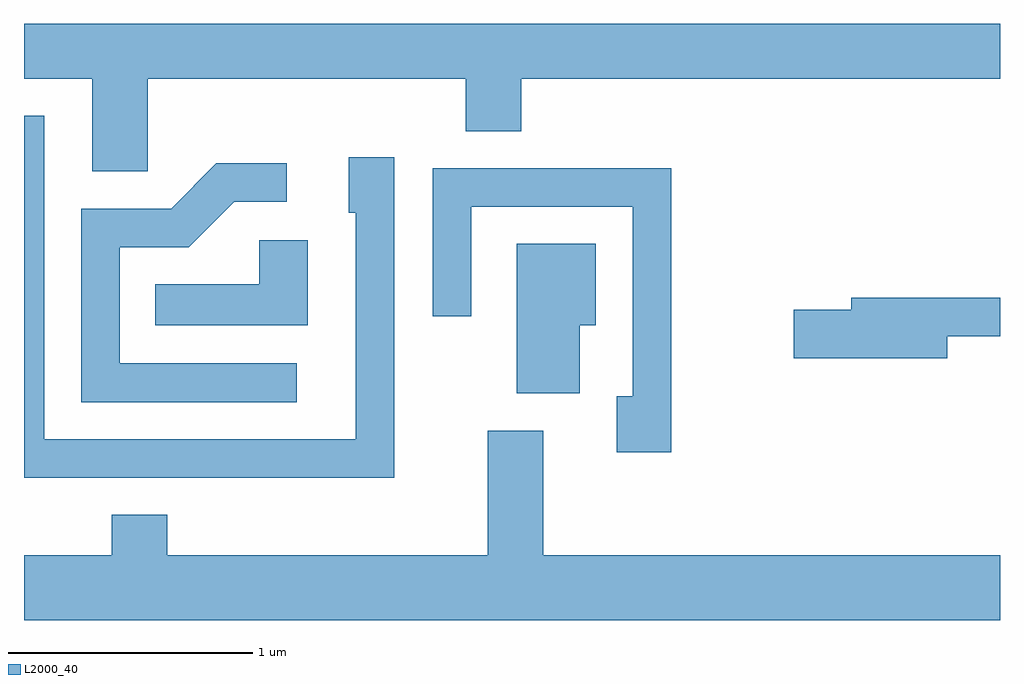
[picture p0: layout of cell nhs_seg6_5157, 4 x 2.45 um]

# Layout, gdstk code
import gdstk
lib = gdstk.Library(unit=1e-6, precision=1e-09)
def P(c, l, *ps):  # polygons
    for p in ps: c.add(gdstk.Polygon(p, *l))
L2000_40 = (2000, 40)

nhs_seg6_5157 = lib.new_cell('nhs_seg6_5157')
P(nhs_seg6_5157, L2000_40, [(342.119,1649.936),(343.421,1649.936),(343.421,1649.721),(343.649,1649.721),(343.649,1649.936),(345.611,1649.936),(345.611,1650.162),(341.611,1650.162),(341.611,1649.936),(341.891,1649.936),(341.891,1649.556),(342.119,1649.556)],
  [(343.129,1649.614),(342.941,1649.614),(342.941,1649.386),(342.971,1649.386),(342.971,1648.459),(341.694,1648.459),(341.694,1649.784),(341.611,1649.784),(341.611,1648.301),(343.129,1648.301)],
  [(342.728,1648.769),(342.004,1648.769),(342.004,1649.246),(342.287,1649.246),(342.472,1649.431),(342.688,1649.431),(342.688,1649.589),(342.399,1649.589),(342.214,1649.404),(341.846,1649.404),(341.846,1648.611),(342.728,1648.611)],
  [(344.264,1649.569),(343.286,1649.569),(343.286,1648.963),(343.444,1648.963),(343.444,1649.411),(344.106,1649.411),(344.106,1648.634),(344.041,1648.634),(344.041,1648.406),(344.264,1648.406)],
  [(342.774,1649.274),(342.576,1649.274),(342.576,1649.094),(342.148,1649.094),(342.148,1648.926),(342.774,1648.926)],
  [(343.889,1648.926),(343.954,1648.926),(343.954,1649.259),(343.631,1649.259),(343.631,1648.646),(343.889,1648.646)],
  [(345.394,1648.881),(345.611,1648.881),(345.611,1649.039),(345.001,1649.039),(345.001,1648.989),(344.766,1648.989),(344.766,1648.791),(345.394,1648.791)],
  [(345.611,1647.984),(343.739,1647.984),(343.739,1648.494),(343.511,1648.494),(343.511,1647.984),(342.199,1647.984),(342.199,1648.149),(341.971,1648.149),(341.971,1647.984),(341.611,1647.984),(341.611,1647.716),(345.611,1647.716)])

lib.write_gds('nhs_seg6_5157.gds')
